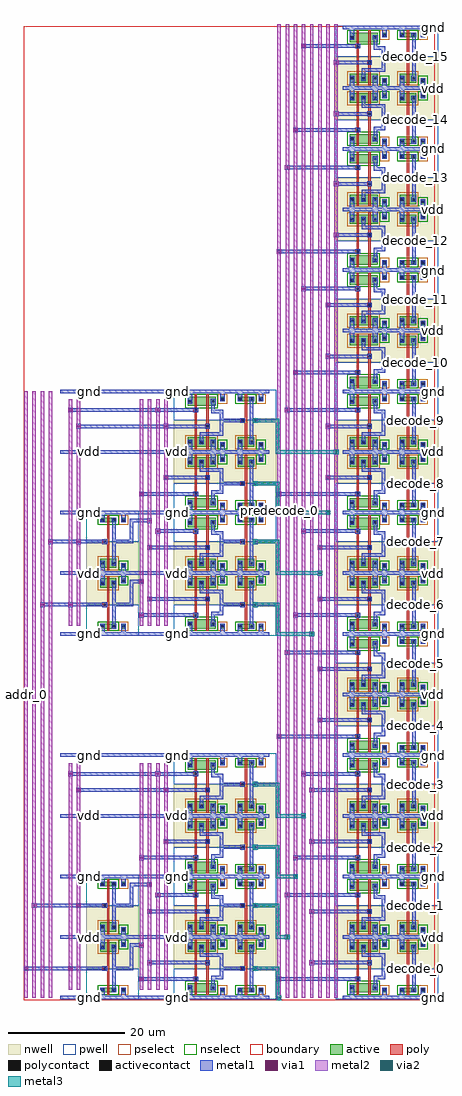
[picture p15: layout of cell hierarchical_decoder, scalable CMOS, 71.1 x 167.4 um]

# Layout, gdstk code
import gdstk
lib = gdstk.Library(unit=1e-6, precision=1e-09)
def R(c, l, rs):  # rectangles x0, y0, x1, y1
    for r in rs: c.add(gdstk.rectangle(r[:2], r[2:], *l))
def A(c, l, x, y, w, h, nx, ny, dx, dy):  # array of equal rectangles
    R(c, l, [(x+i*dx, y+j*dy, x+i*dx+w, y+j*dy+h) for i in range(nx) for j in range(ny)])
pwell = (41, 0)
nwell = (42, 0)
active = (43, 0)
pselect = (44, 0)
nselect = (45, 0)
poly = (46, 0)
polycontact = (47, 0)
activecontact = (48, 0)
metal1 = (49, 0)
via1 = (50, 0)
metal2 = (51, 0)
via2 = (61, 0)
metal3 = (62, 0)
boundary = (63, 0)

contact_9 = lib.new_cell('contact_9')
R(contact_9, nwell, [(-1.2,-1.2,2,2)])
R(contact_9, active, [(0,0,0.8,0.8)])
R(contact_9, pselect, [(-0.4,-0.4,1.2,1.2)])
R(contact_9, activecontact, [(0.2,0.2,0.6,0.6)])
R(contact_9, metal1, [(0,0,0.8,0.8)])
R(contact_9, boundary, [(-1.2,-1.2,2,2)])

pmos_m1_w1_600_sm1_dm1_d = lib.new_cell('pmos_m1_w1_600_sm1_dm1_da_p')
R(pmos_m1_w1_600_sm1_dm1_d, nwell, [(-1.2,-1.2,4,2.8)])
R(pmos_m1_w1_600_sm1_dm1_d, active, [(0,0,2.8,1.6)])
R(pmos_m1_w1_600_sm1_dm1_d, pselect, [(-0.4,-0.4,3.2,2)])
R(pmos_m1_w1_600_sm1_dm1_d, poly, [(1.2,-0.4,1.6,2), (1.2,-0.4,1.6,2)])
R(pmos_m1_w1_600_sm1_dm1_d, metal1, [(0,0.4,0.8,1.2), (2,0.4,2.8,1.2)])
R(pmos_m1_w1_600_sm1_dm1_d, boundary, [(-1.2,-1.2,4,2.8)])
pmos_m1_w1_600_sm1_dm1_d.add(gdstk.Reference(contact_9, (0,0.4)))
pmos_m1_w1_600_sm1_dm1_d.add(gdstk.Reference(contact_9, (2,0.4)))
pmos_m1_w1_600_sm1_dm1_d.add(gdstk.Label('G', (1.4,0.8), layer=46, texttype=0))
pmos_m1_w1_600_sm1_dm1_d.add(gdstk.Label('S', (0.4,0.8), layer=49, texttype=0))
pmos_m1_w1_600_sm1_dm1_d.add(gdstk.Label('D', (2.4,0.8), layer=49, texttype=0))

contact_14 = lib.new_cell('contact_14')
R(contact_14, pwell, [(-1.2,-1.2,2,2)])
R(contact_14, active, [(0,0,0.8,0.8)])
R(contact_14, nselect, [(-0.4,-0.4,1.2,1.2)])
R(contact_14, activecontact, [(0.2,0.2,0.6,0.6)])
R(contact_14, metal1, [(0,0,0.8,0.8)])
R(contact_14, boundary, [(-1.2,-1.2,2,2)])

nmos_m1_w0_800_sm1_dm1_d = lib.new_cell('nmos_m1_w0_800_sm1_dm1_da_p')
R(nmos_m1_w0_800_sm1_dm1_d, pwell, [(-1.2,-1.2,4,2)])
R(nmos_m1_w0_800_sm1_dm1_d, active, [(0,0,2.8,0.8)])
R(nmos_m1_w0_800_sm1_dm1_d, nselect, [(-0.4,-0.4,3.2,1.2)])
R(nmos_m1_w0_800_sm1_dm1_d, poly, [(1.2,-0.4,1.6,1.2), (1.2,-0.4,1.6,1.2)])
R(nmos_m1_w0_800_sm1_dm1_d, metal1, [(0,0,0.8,0.8), (2,0,2.8,0.8)])
R(nmos_m1_w0_800_sm1_dm1_d, boundary, [(-1.2,-1.2,4,2)])
nmos_m1_w0_800_sm1_dm1_d.add(gdstk.Reference(contact_14, (0,0)))
nmos_m1_w0_800_sm1_dm1_d.add(gdstk.Reference(contact_14, (2,0)))
nmos_m1_w0_800_sm1_dm1_d.add(gdstk.Label('G', (1.4,0.4), layer=46, texttype=0))
nmos_m1_w0_800_sm1_dm1_d.add(gdstk.Label('S', (0.4,0.4), layer=49, texttype=0))
nmos_m1_w0_800_sm1_dm1_d.add(gdstk.Label('D', (2.4,0.4), layer=49, texttype=0))

contact_15 = lib.new_cell('contact_15')
R(contact_15, nwell, [(-1.2,-1.2,2,2)])
R(contact_15, active, [(0,0,0.8,0.8)])
R(contact_15, nselect, [(-0.4,-0.4,1.2,1.2)])
R(contact_15, activecontact, [(0.2,0.2,0.6,0.6)])
R(contact_15, metal1, [(0,0,0.8,0.8)])
R(contact_15, boundary, [(-1.2,-1.2,2,2)])

contact_16 = lib.new_cell('contact_16')
R(contact_16, pwell, [(-1.2,-1.2,2,2)])
R(contact_16, active, [(0,0,0.8,0.8)])
R(contact_16, pselect, [(-0.4,-0.4,1.2,1.2)])
R(contact_16, activecontact, [(0.2,0.2,0.6,0.6)])
R(contact_16, metal1, [(0,0,0.8,0.8)])
R(contact_16, boundary, [(-1.2,-1.2,2,2)])

contact_10 = lib.new_cell('contact_10')
R(contact_10, poly, [(0,0,0.8,0.8)])
R(contact_10, polycontact, [(0.2,0.2,0.6,0.6)])
R(contact_10, metal1, [(0,0,0.8,0.8)])
R(contact_10, boundary, [(0,0,0.8,0.8)])

pinv = lib.new_cell('pinv')
R(pinv, pwell, [(-1.2,-0.3,7.8,5)])
R(pinv, nwell, [(-1.2,5,7.8,11.9)])
R(pinv, poly, [(2.4,2.1,2.8,7.5), (2,4.6,2.4,5.4)])
R(pinv, metal1, [(0,-0.3,6.6,0.3), (1.2,-0.3,2,0.9), (4.8,0,5.6,1.3), (3.3,0.9,3.9,9.1), (1.6,4.6,2.4,5.4), (3.6,4.7,4.2,5.3), (1.2,8.3,2,10.7), (4.8,9.1,5.6,10.4), (0,10.1,6.6,10.7)])
R(pinv, boundary, [(0,0,6.6,10.4), (0,0,6.6,10.4)])
pinv.add(gdstk.Reference(pmos_m1_w1_600_sm1_dm1_d, (1.2,7.9)))
pinv.add(gdstk.Reference(nmos_m1_w0_800_sm1_dm1_d, (1.2,0.9)))
pinv.add(gdstk.Reference(contact_15, (4.8,8.7)))
pinv.add(gdstk.Reference(contact_16, (4.8,0.9)))
pinv.add(gdstk.Reference(contact_10, (1.6,4.6)))
pinv.add(gdstk.Label('A', (2,5), layer=49, texttype=0))
pinv.add(gdstk.Label('Z', (3.9,5), layer=49, texttype=0))
pinv.add(gdstk.Label('gnd', (3.3,0), layer=49, texttype=0))
pinv.add(gdstk.Label('vdd', (3.3,10.4), layer=49, texttype=0))

pmos_m1_w1_600_sm1_dm1 = lib.new_cell('pmos_m1_w1_600_sm1_dm1')
R(pmos_m1_w1_600_sm1_dm1, nwell, [(-1.2,-1.2,4,2.8)])
R(pmos_m1_w1_600_sm1_dm1, active, [(0,0,2.8,1.6)])
R(pmos_m1_w1_600_sm1_dm1, pselect, [(-0.4,-0.4,3.2,2)])
R(pmos_m1_w1_600_sm1_dm1, poly, [(1.2,-0.4,1.6,2), (1.2,-0.4,1.6,2)])
R(pmos_m1_w1_600_sm1_dm1, metal1, [(0,0.4,0.8,1.2), (2,0.4,2.8,1.2)])
R(pmos_m1_w1_600_sm1_dm1, boundary, [(-1.2,-1.2,4,2.8)])
pmos_m1_w1_600_sm1_dm1.add(gdstk.Reference(contact_9, (0,0.4)))
pmos_m1_w1_600_sm1_dm1.add(gdstk.Reference(contact_9, (2,0.4)))
pmos_m1_w1_600_sm1_dm1.add(gdstk.Label('G', (1.4,0.8), layer=46, texttype=0))
pmos_m1_w1_600_sm1_dm1.add(gdstk.Label('S', (0.4,0.8), layer=49, texttype=0))
pmos_m1_w1_600_sm1_dm1.add(gdstk.Label('D', (2.4,0.8), layer=49, texttype=0))

nmos_m1_w1_600_sm1_dacti = lib.new_cell('nmos_m1_w1_600_sm1_dactive')
R(nmos_m1_w1_600_sm1_dacti, pwell, [(-1.2,-1.2,4,2.8)])
R(nmos_m1_w1_600_sm1_dacti, active, [(0,0,2.8,1.6), (2.1,0.5,2.7,1.1)])
R(nmos_m1_w1_600_sm1_dacti, nselect, [(-0.4,-0.4,3.2,2)])
R(nmos_m1_w1_600_sm1_dacti, poly, [(1.2,-0.4,1.6,2), (1.2,-0.4,1.6,2)])
R(nmos_m1_w1_600_sm1_dacti, metal1, [(0,0.4,0.8,1.2)])
R(nmos_m1_w1_600_sm1_dacti, boundary, [(-1.2,-1.2,4,2.8)])
nmos_m1_w1_600_sm1_dacti.add(gdstk.Reference(contact_14, (0,0.4)))
nmos_m1_w1_600_sm1_dacti.add(gdstk.Label('G', (1.4,0.8), layer=46, texttype=0))
nmos_m1_w1_600_sm1_dacti.add(gdstk.Label('S', (0.4,0.8), layer=49, texttype=0))
nmos_m1_w1_600_sm1_dacti.add(gdstk.Label('D', (2.4,0.8), layer=43, texttype=0))

nmos_m1_w1_600_sactive_d = lib.new_cell('nmos_m1_w1_600_sactive_dm1')
R(nmos_m1_w1_600_sactive_d, pwell, [(-1.2,-1.2,4,2.8)])
R(nmos_m1_w1_600_sactive_d, active, [(0,0,2.8,1.6), (0.1,0.5,0.7,1.1)])
R(nmos_m1_w1_600_sactive_d, nselect, [(-0.4,-0.4,3.2,2)])
R(nmos_m1_w1_600_sactive_d, poly, [(1.2,-0.4,1.6,2), (1.2,-0.4,1.6,2)])
R(nmos_m1_w1_600_sactive_d, metal1, [(2,0.4,2.8,1.2)])
R(nmos_m1_w1_600_sactive_d, boundary, [(-1.2,-1.2,4,2.8)])
nmos_m1_w1_600_sactive_d.add(gdstk.Reference(contact_14, (2,0.4)))
nmos_m1_w1_600_sactive_d.add(gdstk.Label('G', (1.4,0.8), layer=46, texttype=0))
nmos_m1_w1_600_sactive_d.add(gdstk.Label('S', (0.4,0.8), layer=43, texttype=0))
nmos_m1_w1_600_sactive_d.add(gdstk.Label('D', (2.4,0.8), layer=49, texttype=0))

pnand2 = lib.new_cell('pnand2')
R(pnand2, pwell, [(-1.2,-0.3,9.8,5)])
R(pnand2, nwell, [(-1.2,5,9.8,11.9)])
R(pnand2, poly, [(2.4,2.8,2.6,3.6), (2.4,2.9,2.8,7.5), (4.4,2.9,4.8,7.5), (4.4,5.6,4.6,6.4)])
R(pnand2, metal1, [(0,-0.3,8.6,0.3), (1.2,-0.3,2,1.3), (6.8,0,7.6,1.3), (5.3,2.1,5.9,3.5), (2.2,2.8,3,3.6), (5.3,3.2,5.9,3.8), (5.6,3.2,7,3.8), (6.7,3.2,7.3,3.8), (6.7,3.5,7.3,7.3), (4.2,5.6,5,6.4), (3.3,7,3.9,7.6), (3.6,7,7,7.6), (6.7,7,7.3,7.6), (3.3,7.3,3.9,8.3), (1.2,8.3,2,10.7), (5.2,8.3,6,10.7), (6.8,9.1,7.6,10.4), (0,10.1,8.6,10.7)])
R(pnand2, boundary, [(0,0,8.6,10.4), (0,0,8.6,10.4)])
pnand2.add(gdstk.Reference(pmos_m1_w1_600_sm1_dm1, (1.2,7.9)))
pnand2.add(gdstk.Reference(pmos_m1_w1_600_sm1_dm1, (3.2,7.9)))
pnand2.add(gdstk.Reference(nmos_m1_w1_600_sm1_dacti, (1.2,0.9)))
pnand2.add(gdstk.Reference(nmos_m1_w1_600_sactive_d, (3.2,0.9)))
pnand2.add(gdstk.Reference(contact_15, (6.8,8.7)))
pnand2.add(gdstk.Reference(contact_16, (6.8,0.9)))
pnand2.add(gdstk.Reference(contact_10, (2.2,2.8)))
pnand2.add(gdstk.Reference(contact_10, (4.2,5.6)))
pnand2.add(gdstk.Label('Z', (7,7.3), layer=49, texttype=0))
pnand2.add(gdstk.Label('gnd', (4.3,0), layer=49, texttype=0))
pnand2.add(gdstk.Label('vdd', (4.3,10.4), layer=49, texttype=0))
pnand2.add(gdstk.Label('A', (2.6,3.2), layer=49, texttype=0))
pnand2.add(gdstk.Label('B', (4.6,6), layer=49, texttype=0))

and2_dec = lib.new_cell('and2_dec')
R(and2_dec, metal1, [(0,-0.3,15.2,0.3), (2.2,2.8,3,3.6), (6.7,4.7,7.3,5.3), (7,4.7,10.6,5.3), (12.2,4.7,12.8,5.3), (6.7,5,7.3,7.3), (4.2,5.6,5,6.4), (0,10.1,15.2,10.7)])
R(and2_dec, boundary, [(0,0,15.2,10.4)])
and2_dec.add(gdstk.Reference(pnand2, (0,0)))
and2_dec.add(gdstk.Reference(pinv, (8.6,0)))
and2_dec.add(gdstk.Label('Z', (12.5,5), layer=49, texttype=0))
and2_dec.add(gdstk.Label('A', (2.6,3.2), layer=49, texttype=0))
and2_dec.add(gdstk.Label('B', (4.6,6), layer=49, texttype=0))
and2_dec.add(gdstk.Label('gnd', (7.6,0), layer=49, texttype=0))
and2_dec.add(gdstk.Label('vdd', (7.6,10.4), layer=49, texttype=0))

contact_17 = lib.new_cell('contact_17')
R(contact_17, metal1, [(0,0,0.8,0.8)])
R(contact_17, via1, [(0.2,0.2,0.6,0.6)])
R(contact_17, metal2, [(0,0,0.8,0.8)])
R(contact_17, boundary, [(0,0,0.8,0.8)])

contact_6 = lib.new_cell('contact_6')
R(contact_6, metal1, [(0,0,0.8,0.8)])
R(contact_6, via1, [(0.2,0.2,0.6,0.6)])
R(contact_6, metal2, [(0,0,0.8,0.8)])
R(contact_6, boundary, [(0,0,0.8,0.8)])

contact_7 = lib.new_cell('contact_7')
R(contact_7, metal2, [(0,0,0.8,0.8)])
R(contact_7, via2, [(0.2,0.2,0.6,0.6)])
R(contact_7, metal3, [(0,0,0.8,0.8)])
R(contact_7, boundary, [(0,0,0.8,0.8)])

hierarchical_predecode2x = lib.new_cell('hierarchical_predecode2x4')
R(hierarchical_predecode2x, metal1, [(0,-0.3,35.8,0.3), (13.9,2.9,23.2,3.5), (22.9,2.9,23.5,3.5), (1.7,4.7,7.6,5.3), (7.3,4.7,7.9,5.3), (9.5,4.7,10.1,5.3), (9.8,4.7,12.2,5.3), (11.9,4.7,12.5,5.3), (32.8,4.7,33.4,5.3), (11.9,5,12.5,9), (15.3,5.7,25.2,6.3), (24.9,5.7,25.5,6.3), (11.9,8.7,12.5,9.3), (12.2,8.7,13.9,9.3), (0,10.1,35.8,10.7), (0,10.1,35.8,10.7), (15.3,14.5,25.2,15.1), (24.9,14.5,25.5,15.1), (3.1,15.5,7.6,16.1), (7.3,15.5,7.9,16.1), (9.5,15.5,10.1,16.1), (9.8,15.5,12.2,16.1), (11.9,15.5,12.5,16.1), (32.8,15.5,33.4,16.1), (11.9,15.8,12.5,19.4), (16.7,17.3,23.2,17.9), (22.9,17.3,23.5,17.9), (11.9,19.1,12.5,19.7), (12.2,19.1,15.3,19.7), (0,20.5,35.8,21.1), (0,20.5,35.8,21.1), (13.9,23.7,23.2,24.3), (22.9,23.7,23.5,24.3), (32.8,25.5,33.4,26.1), (18.1,26.5,25.2,27.1), (24.9,26.5,25.5,27.1), (0,30.9,35.8,31.5), (0,30.9,35.8,31.5), (3.1,35.3,18.1,35.9), (18.1,35.3,25.2,35.9), (24.9,35.3,25.5,35.9), (32.8,36.3,33.4,36.9), (1.7,38.1,16.7,38.7), (16.7,38.1,23.2,38.7), (22.9,38.1,23.5,38.7), (0,41.3,35.8,41.9)])
A(hierarchical_predecode2x, metal2, 13.6, 1.4, 0.6, 38.8, 4, 1, 1.4, 0)
R(hierarchical_predecode2x, metal2, [(1.4,1.4,2,40.2), (2.8,1.4,3.4,40.2), (1.3,4.6,2.1,5.4), (2.7,15.4,3.5,16.2)])
A(hierarchical_predecode2x, metal3, 4.6, 10, 0.8, 0.8, 1, 3, 0, 10.4)
A(hierarchical_predecode2x, metal3, 19.6, 10, 0.8, 0.8, 1, 3, 0, 10.4)
R(hierarchical_predecode2x, metal3, [(4.6,-0.4,5.4,0.4), (19.6,-0.4,20.4,0.4), (4.6,10,5.4,10.8), (19.6,10,20.4,10.8), (4.6,30.8,5.4,31.6), (19.6,30.8,20.4,31.6), (4.6,41.2,5.4,42), (19.6,41.2,20.4,42)])
R(hierarchical_predecode2x, boundary, [(0,0,35.8,41.6)])
hierarchical_predecode2x.add(gdstk.Reference(pinv, (5.6,0)))
hierarchical_predecode2x.add(gdstk.Reference(pinv, (5.6,20.8), x_reflection=True))
hierarchical_predecode2x.add(gdstk.Reference(and2_dec, (20.6,0)))
hierarchical_predecode2x.add(gdstk.Reference(and2_dec, (20.6,20.8), x_reflection=True))
hierarchical_predecode2x.add(gdstk.Reference(and2_dec, (20.6,20.8)))
hierarchical_predecode2x.add(gdstk.Reference(and2_dec, (20.6,41.6), x_reflection=True))
hierarchical_predecode2x.add(gdstk.Reference(contact_17, (13.5,8.6)))
hierarchical_predecode2x.add(gdstk.Reference(contact_6, (1.3,4.6)))
hierarchical_predecode2x.add(gdstk.Reference(contact_17, (14.9,19)))
hierarchical_predecode2x.add(gdstk.Reference(contact_6, (2.7,15.4)))
hierarchical_predecode2x.add(gdstk.Reference(contact_6, (1.3,38)))
hierarchical_predecode2x.add(gdstk.Reference(contact_6, (16.3,38)))
hierarchical_predecode2x.add(gdstk.Reference(contact_6, (2.7,35.2)))
hierarchical_predecode2x.add(gdstk.Reference(contact_6, (17.7,35.2)))
hierarchical_predecode2x.add(gdstk.Reference(contact_17, (13.5,2.8)))
hierarchical_predecode2x.add(gdstk.Reference(contact_17, (14.9,5.6)))
hierarchical_predecode2x.add(gdstk.Reference(contact_17, (16.3,17.2)))
hierarchical_predecode2x.add(gdstk.Reference(contact_17, (14.9,14.4)))
hierarchical_predecode2x.add(gdstk.Reference(contact_17, (13.5,23.6)))
hierarchical_predecode2x.add(gdstk.Reference(contact_17, (17.7,26.4)))
hierarchical_predecode2x.add(gdstk.Reference(contact_17, (16.3,38)))
hierarchical_predecode2x.add(gdstk.Reference(contact_17, (17.7,35.2)))
hierarchical_predecode2x.add(gdstk.Reference(contact_6, (4.6,10)))
hierarchical_predecode2x.add(gdstk.Reference(contact_7, (4.6,10)))
hierarchical_predecode2x.add(gdstk.Reference(contact_6, (19.6,10)))
hierarchical_predecode2x.add(gdstk.Reference(contact_7, (19.6,10)))
hierarchical_predecode2x.add(gdstk.Reference(contact_6, (4.6,-0.4)))
hierarchical_predecode2x.add(gdstk.Reference(contact_7, (4.6,-0.4)))
hierarchical_predecode2x.add(gdstk.Reference(contact_6, (19.6,-0.4)))
hierarchical_predecode2x.add(gdstk.Reference(contact_7, (19.6,-0.4)))
hierarchical_predecode2x.add(gdstk.Reference(contact_6, (4.6,10)))
hierarchical_predecode2x.add(gdstk.Reference(contact_7, (4.6,10)))
hierarchical_predecode2x.add(gdstk.Reference(contact_6, (19.6,10)))
hierarchical_predecode2x.add(gdstk.Reference(contact_7, (19.6,10)))
hierarchical_predecode2x.add(gdstk.Reference(contact_6, (4.6,20.4)))
hierarchical_predecode2x.add(gdstk.Reference(contact_7, (4.6,20.4)))
hierarchical_predecode2x.add(gdstk.Reference(contact_6, (19.6,20.4)))
hierarchical_predecode2x.add(gdstk.Reference(contact_7, (19.6,20.4)))
hierarchical_predecode2x.add(gdstk.Reference(contact_6, (4.6,30.8)))
hierarchical_predecode2x.add(gdstk.Reference(contact_7, (4.6,30.8)))
hierarchical_predecode2x.add(gdstk.Reference(contact_6, (19.6,30.8)))
hierarchical_predecode2x.add(gdstk.Reference(contact_7, (19.6,30.8)))
hierarchical_predecode2x.add(gdstk.Reference(contact_6, (4.6,20.4)))
hierarchical_predecode2x.add(gdstk.Reference(contact_7, (4.6,20.4)))
hierarchical_predecode2x.add(gdstk.Reference(contact_6, (19.6,20.4)))
hierarchical_predecode2x.add(gdstk.Reference(contact_7, (19.6,20.4)))
hierarchical_predecode2x.add(gdstk.Reference(contact_6, (4.6,30.8)))
hierarchical_predecode2x.add(gdstk.Reference(contact_7, (4.6,30.8)))
hierarchical_predecode2x.add(gdstk.Reference(contact_6, (19.6,30.8)))
hierarchical_predecode2x.add(gdstk.Reference(contact_7, (19.6,30.8)))
hierarchical_predecode2x.add(gdstk.Reference(contact_6, (4.6,41.2)))
hierarchical_predecode2x.add(gdstk.Reference(contact_7, (4.6,41.2)))
hierarchical_predecode2x.add(gdstk.Reference(contact_6, (19.6,41.2)))
hierarchical_predecode2x.add(gdstk.Reference(contact_7, (19.6,41.2)))
hierarchical_predecode2x.add(gdstk.Label('in_0', (1.7,5), layer=51, texttype=0))
hierarchical_predecode2x.add(gdstk.Label('in_1', (3.1,15.8), layer=51, texttype=0))
hierarchical_predecode2x.add(gdstk.Label('out_0', (33.1,5), layer=49, texttype=0))
hierarchical_predecode2x.add(gdstk.Label('out_1', (33.1,15.8), layer=49, texttype=0))
hierarchical_predecode2x.add(gdstk.Label('out_2', (33.1,25.8), layer=49, texttype=0))
hierarchical_predecode2x.add(gdstk.Label('out_3', (33.1,36.6), layer=49, texttype=0))
hierarchical_predecode2x.add(gdstk.Label('vdd', (5,31.2), layer=62, texttype=0))
hierarchical_predecode2x.add(gdstk.Label('vdd', (20,31.2), layer=62, texttype=0))
hierarchical_predecode2x.add(gdstk.Label('vdd', (20,31.2), layer=62, texttype=0))
hierarchical_predecode2x.add(gdstk.Label('vdd', (5,10.4), layer=62, texttype=0))
hierarchical_predecode2x.add(gdstk.Label('vdd', (20,10.4), layer=62, texttype=0))
hierarchical_predecode2x.add(gdstk.Label('vdd', (20,10.4), layer=62, texttype=0))
hierarchical_predecode2x.add(gdstk.Label('vdd', (5,10.4), layer=62, texttype=0))
hierarchical_predecode2x.add(gdstk.Label('vdd', (5,31.2), layer=62, texttype=0))
hierarchical_predecode2x.add(gdstk.Label('gnd', (20,0), layer=62, texttype=0))
hierarchical_predecode2x.add(gdstk.Label('gnd', (5,41.6), layer=62, texttype=0))
hierarchical_predecode2x.add(gdstk.Label('gnd', (20,20.8), layer=62, texttype=0))
hierarchical_predecode2x.add(gdstk.Label('gnd', (5,0), layer=62, texttype=0))
hierarchical_predecode2x.add(gdstk.Label('gnd', (5,20.8), layer=62, texttype=0))
hierarchical_predecode2x.add(gdstk.Label('gnd', (20,41.6), layer=62, texttype=0))

contact_18 = lib.new_cell('contact_18')
R(contact_18, metal2, [(0,0,0.8,0.8)])
R(contact_18, via2, [(0.2,0.2,0.6,0.6)])
R(contact_18, metal3, [(0,0,0.8,0.8)])
R(contact_18, boundary, [(0,0,0.8,0.8)])

hierarchical_decoder = lib.new_cell('hierarchical_decoder')
A(hierarchical_decoder, metal1, 43.8, 3.3, 13.5, 0.6, 1, 4, 0, 41.6)
A(hierarchical_decoder, metal1, 45.2, 17.7, 12.1, 0.6, 1, 4, 0, 41.6)
A(hierarchical_decoder, metal1, 46.6, 24.1, 10.7, 0.6, 1, 4, 0, 41.6)
A(hierarchical_decoder, metal1, 48, 38.5, 9.3, 0.6, 1, 4, 0, 41.6)
R(hierarchical_decoder, metal1, [(57,3.3,57.6,3.9), (0.4,5.1,8,5.7), (66.9,5.1,67.5,5.7), (49.4,6.1,59.3,6.7), (59,6.1,59.6,6.7), (49.4,14.9,59.3,15.5), (59,14.9,59.6,15.5), (1.8,15.9,9.4,16.5), (66.9,15.9,67.5,16.5), (57,17.7,57.6,18.3), (57,24.1,57.6,24.7), (66.9,25.9,67.5,26.5), (49.4,26.9,59.3,27.5), (59,26.9,59.6,27.5), (49.4,35.7,59.3,36.3), (59,35.7,59.6,36.3), (66.9,36.7,67.5,37.3), (57,38.5,57.6,39.1), (57,44.9,57.6,45.5), (66.9,46.7,67.5,47.3), (50.8,47.7,59.3,48.3), (59,47.7,59.6,48.3), (50.8,56.5,59.3,57.1), (59,56.5,59.6,57.1), (66.9,57.5,67.5,58.1), (57,59.3,57.6,59.9), (57,65.7,57.6,66.3), (3.2,67.5,8,68.1), (66.9,67.5,67.5,68.1), (50.8,68.5,59.3,69.1), (59,68.5,59.6,69.1), (50.8,77.3,59.3,77.9), (59,77.3,59.6,77.9), (4.6,78.3,9.4,78.9), (66.9,78.3,67.5,78.9), (57,80.1,57.6,80.7), (57,86.5,57.6,87.1), (66.9,88.3,67.5,88.9), (52.2,89.3,59.3,89.9), (59,89.3,59.6,89.9), (52.2,98.1,59.3,98.7), (59,98.1,59.6,98.7), (66.9,99.1,67.5,99.7), (57,100.9,57.6,101.5), (57,107.3,57.6,107.9), (66.9,109.1,67.5,109.7), (52.2,110.1,59.3,110.7), (59,110.1,59.6,110.7), (52.2,118.9,59.3,119.5), (59,118.9,59.6,119.5), (66.9,119.9,67.5,120.5), (57,121.7,57.6,122.3), (57,128.1,57.6,128.7), (66.9,129.9,67.5,130.5), (53.6,130.9,59.3,131.5), (59,130.9,59.6,131.5), (53.6,139.7,59.3,140.3), (59,139.7,59.6,140.3), (66.9,140.7,67.5,141.3), (57,142.5,57.6,143.1), (57,148.9,57.6,149.5), (66.9,150.7,67.5,151.3), (53.6,151.7,59.3,152.3), (59,151.7,59.6,152.3), (53.6,160.5,59.3,161.1), (59,160.5,59.6,161.1), (66.9,161.5,67.5,162.1), (57,163.3,57.6,163.9)])
A(hierarchical_decoder, metal2, 0.1, 0.4, 0.6, 104, 4, 1, 1.4, 0)
A(hierarchical_decoder, metal2, 43.5, 0.4, 0.6, 167, 8, 1, 1.4, 0)
A(hierarchical_decoder, metal3, 10.9, 0, 0.8, 0.8, 1, 5, 0, 10.4)
A(hierarchical_decoder, metal3, 25.9, 0, 0.8, 0.8, 1, 5, 0, 10.4)
A(hierarchical_decoder, metal3, 43.2, 5.1, 0.6, 0.6, 1, 3, 0, 5.4)
A(hierarchical_decoder, metal3, 69.8, 10.4, 0.8, 0.8, 1, 3, 0, 10.4)
A(hierarchical_decoder, metal3, 43.2, 25.9, 0.6, 0.6, 1, 3, 0, 5.4)
A(hierarchical_decoder, metal3, 69.8, 31.2, 0.8, 0.8, 1, 5, 0, 10.4)
A(hierarchical_decoder, metal3, 10.9, 62.4, 0.8, 0.8, 1, 5, 0, 10.4)
A(hierarchical_decoder, metal3, 25.9, 62.4, 0.8, 0.8, 1, 5, 0, 10.4)
A(hierarchical_decoder, metal3, 43.2, 67.5, 0.6, 0.6, 1, 3, 0, 5.4)
A(hierarchical_decoder, metal3, 69.8, 72.8, 0.8, 0.8, 1, 3, 0, 10.4)
A(hierarchical_decoder, metal3, 43.2, 88.3, 0.6, 0.6, 1, 3, 0, 5.4)
A(hierarchical_decoder, metal3, 69.8, 93.6, 0.8, 0.8, 1, 8, 0, 10.4)
R(hierarchical_decoder, metal3, [(69.8,0,70.6,0.8), (43.2,0.1,43.8,0.7), (43.5,0.1,43.8,0.7), (43.2,0.4,43.8,5.4), (39.7,5.1,43.5,5.7), (69.8,10.4,70.6,11.2), (43.5,10.5,45.2,11.1), (43.2,10.8,43.8,16.2), (39.7,15.9,43.5,16.5), (43.2,20.9,43.8,21.5), (43.5,20.9,46.6,21.5), (43.2,21.2,43.8,26.2), (39.7,25.9,43.5,26.5), (43.5,31.3,48,31.9), (43.2,31.6,43.8,37), (39.7,36.7,43.5,37.3), (43.2,62.5,43.8,63.1), (43.5,62.5,49.4,63.1), (43.2,62.8,43.8,67.8), (39.7,67.5,43.5,68.1), (43.5,72.9,50.8,73.5), (43.2,73.2,43.8,78.6), (39.7,78.3,43.5,78.9), (43.2,83.3,43.8,83.9), (43.5,83.3,52.2,83.9), (43.2,83.6,43.8,88.6), (39.7,88.3,43.5,88.9), (43.5,93.7,53.6,94.3), (43.2,94,43.8,99.4), (39.7,99.1,43.5,99.7)])
R(hierarchical_decoder, boundary, [(0,0,70.5,167)])
hierarchical_decoder.add(gdstk.Reference(hierarchical_predecode2x, (6.3,0.4)))
hierarchical_decoder.add(gdstk.Reference(hierarchical_predecode2x, (6.3,62.8)))
hierarchical_decoder.add(gdstk.Reference(and2_dec, (54.7,0.4)))
hierarchical_decoder.add(gdstk.Reference(and2_dec, (54.7,21.2), x_reflection=True))
hierarchical_decoder.add(gdstk.Reference(and2_dec, (54.7,21.2)))
hierarchical_decoder.add(gdstk.Reference(and2_dec, (54.7,42), x_reflection=True))
hierarchical_decoder.add(gdstk.Reference(and2_dec, (54.7,42)))
hierarchical_decoder.add(gdstk.Reference(and2_dec, (54.7,62.8), x_reflection=True))
hierarchical_decoder.add(gdstk.Reference(and2_dec, (54.7,62.8)))
hierarchical_decoder.add(gdstk.Reference(and2_dec, (54.7,83.6), x_reflection=True))
hierarchical_decoder.add(gdstk.Reference(and2_dec, (54.7,83.6)))
hierarchical_decoder.add(gdstk.Reference(and2_dec, (54.7,104.4), x_reflection=True))
hierarchical_decoder.add(gdstk.Reference(and2_dec, (54.7,104.4)))
hierarchical_decoder.add(gdstk.Reference(and2_dec, (54.7,125.2), x_reflection=True))
hierarchical_decoder.add(gdstk.Reference(and2_dec, (54.7,125.2)))
hierarchical_decoder.add(gdstk.Reference(and2_dec, (54.7,146), x_reflection=True))
hierarchical_decoder.add(gdstk.Reference(and2_dec, (54.7,146)))
hierarchical_decoder.add(gdstk.Reference(and2_dec, (54.7,166.8), x_reflection=True))
hierarchical_decoder.add(gdstk.Reference(contact_6, (7.6,5)))
hierarchical_decoder.add(gdstk.Reference(contact_17, (0,5)))
hierarchical_decoder.add(gdstk.Reference(contact_6, (9,15.8)))
hierarchical_decoder.add(gdstk.Reference(contact_17, (1.4,15.8)))
hierarchical_decoder.add(gdstk.Reference(contact_6, (7.6,67.4)))
hierarchical_decoder.add(gdstk.Reference(contact_17, (2.8,67.4)))
hierarchical_decoder.add(gdstk.Reference(contact_6, (9,78.2)))
hierarchical_decoder.add(gdstk.Reference(contact_17, (4.2,78.2)))
hierarchical_decoder.add(gdstk.Reference(contact_6, (39.3,5)))
hierarchical_decoder.add(gdstk.Reference(contact_7, (39.3,5)))
hierarchical_decoder.add(gdstk.Reference(contact_18, (43.4,0)))
hierarchical_decoder.add(gdstk.Reference(contact_6, (39.3,15.8)))
hierarchical_decoder.add(gdstk.Reference(contact_7, (39.3,15.8)))
hierarchical_decoder.add(gdstk.Reference(contact_18, (44.8,10.4)))
hierarchical_decoder.add(gdstk.Reference(contact_6, (39.3,25.8)))
hierarchical_decoder.add(gdstk.Reference(contact_7, (39.3,25.8)))
hierarchical_decoder.add(gdstk.Reference(contact_18, (46.2,20.8)))
hierarchical_decoder.add(gdstk.Reference(contact_6, (39.3,36.6)))
hierarchical_decoder.add(gdstk.Reference(contact_7, (39.3,36.6)))
hierarchical_decoder.add(gdstk.Reference(contact_18, (47.6,31.2)))
hierarchical_decoder.add(gdstk.Reference(contact_6, (39.3,67.4)))
hierarchical_decoder.add(gdstk.Reference(contact_7, (39.3,67.4)))
hierarchical_decoder.add(gdstk.Reference(contact_18, (49,62.4)))
hierarchical_decoder.add(gdstk.Reference(contact_6, (39.3,78.2)))
hierarchical_decoder.add(gdstk.Reference(contact_7, (39.3,78.2)))
hierarchical_decoder.add(gdstk.Reference(contact_18, (50.4,72.8)))
hierarchical_decoder.add(gdstk.Reference(contact_6, (39.3,88.2)))
hierarchical_decoder.add(gdstk.Reference(contact_7, (39.3,88.2)))
hierarchical_decoder.add(gdstk.Reference(contact_18, (51.8,83.2)))
hierarchical_decoder.add(gdstk.Reference(contact_6, (39.3,99)))
hierarchical_decoder.add(gdstk.Reference(contact_7, (39.3,99)))
hierarchical_decoder.add(gdstk.Reference(contact_18, (53.2,93.6)))
hierarchical_decoder.add(gdstk.Reference(contact_17, (43.4,3.2)))
hierarchical_decoder.add(gdstk.Reference(contact_17, (49,6)))
hierarchical_decoder.add(gdstk.Reference(contact_17, (44.8,17.6)))
hierarchical_decoder.add(gdstk.Reference(contact_17, (49,14.8)))
hierarchical_decoder.add(gdstk.Reference(contact_17, (46.2,24)))
hierarchical_decoder.add(gdstk.Reference(contact_17, (49,26.8)))
hierarchical_decoder.add(gdstk.Reference(contact_17, (47.6,38.4)))
hierarchical_decoder.add(gdstk.Reference(contact_17, (49,35.6)))
hierarchical_decoder.add(gdstk.Reference(contact_17, (43.4,44.8)))
hierarchical_decoder.add(gdstk.Reference(contact_17, (50.4,47.6)))
hierarchical_decoder.add(gdstk.Reference(contact_17, (44.8,59.2)))
hierarchical_decoder.add(gdstk.Reference(contact_17, (50.4,56.4)))
hierarchical_decoder.add(gdstk.Reference(contact_17, (46.2,65.6)))
hierarchical_decoder.add(gdstk.Reference(contact_17, (50.4,68.4)))
hierarchical_decoder.add(gdstk.Reference(contact_17, (47.6,80)))
hierarchical_decoder.add(gdstk.Reference(contact_17, (50.4,77.2)))
hierarchical_decoder.add(gdstk.Reference(contact_17, (43.4,86.4)))
hierarchical_decoder.add(gdstk.Reference(contact_17, (51.8,89.2)))
hierarchical_decoder.add(gdstk.Reference(contact_17, (44.8,100.8)))
hierarchical_decoder.add(gdstk.Reference(contact_17, (51.8,98)))
hierarchical_decoder.add(gdstk.Reference(contact_17, (46.2,107.2)))
hierarchical_decoder.add(gdstk.Reference(contact_17, (51.8,110)))
hierarchical_decoder.add(gdstk.Reference(contact_17, (47.6,121.6)))
hierarchical_decoder.add(gdstk.Reference(contact_17, (51.8,118.8)))
hierarchical_decoder.add(gdstk.Reference(contact_17, (43.4,128)))
hierarchical_decoder.add(gdstk.Reference(contact_17, (53.2,130.8)))
hierarchical_decoder.add(gdstk.Reference(contact_17, (44.8,142.4)))
hierarchical_decoder.add(gdstk.Reference(contact_17, (53.2,139.6)))
hierarchical_decoder.add(gdstk.Reference(contact_17, (46.2,148.8)))
hierarchical_decoder.add(gdstk.Reference(contact_17, (53.2,151.6)))
hierarchical_decoder.add(gdstk.Reference(contact_17, (47.6,163.2)))
hierarchical_decoder.add(gdstk.Reference(contact_17, (53.2,160.4)))
hierarchical_decoder.add(gdstk.Reference(contact_6, (69.8,10.4)))
hierarchical_decoder.add(gdstk.Reference(contact_7, (69.8,10.4)))
hierarchical_decoder.add(gdstk.Reference(contact_6, (69.8,0)))
hierarchical_decoder.add(gdstk.Reference(contact_7, (69.8,0)))
hierarchical_decoder.add(gdstk.Reference(contact_6, (69.8,10.4)))
hierarchical_decoder.add(gdstk.Reference(contact_7, (69.8,10.4)))
hierarchical_decoder.add(gdstk.Reference(contact_6, (69.8,20.8)))
hierarchical_decoder.add(gdstk.Reference(contact_7, (69.8,20.8)))
hierarchical_decoder.add(gdstk.Reference(contact_6, (69.8,31.2)))
hierarchical_decoder.add(gdstk.Reference(contact_7, (69.8,31.2)))
hierarchical_decoder.add(gdstk.Reference(contact_6, (69.8,20.8)))
hierarchical_decoder.add(gdstk.Reference(contact_7, (69.8,20.8)))
hierarchical_decoder.add(gdstk.Reference(contact_6, (69.8,31.2)))
hierarchical_decoder.add(gdstk.Reference(contact_7, (69.8,31.2)))
hierarchical_decoder.add(gdstk.Reference(contact_6, (69.8,41.6)))
hierarchical_decoder.add(gdstk.Reference(contact_7, (69.8,41.6)))
hierarchical_decoder.add(gdstk.Reference(contact_6, (69.8,52)))
hierarchical_decoder.add(gdstk.Reference(contact_7, (69.8,52)))
hierarchical_decoder.add(gdstk.Reference(contact_6, (69.8,41.6)))
hierarchical_decoder.add(gdstk.Reference(contact_7, (69.8,41.6)))
hierarchical_decoder.add(gdstk.Reference(contact_6, (69.8,52)))
hierarchical_decoder.add(gdstk.Reference(contact_7, (69.8,52)))
hierarchical_decoder.add(gdstk.Reference(contact_6, (69.8,62.4)))
hierarchical_decoder.add(gdstk.Reference(contact_7, (69.8,62.4)))
hierarchical_decoder.add(gdstk.Reference(contact_6, (69.8,72.8)))
hierarchical_decoder.add(gdstk.Reference(contact_7, (69.8,72.8)))
hierarchical_decoder.add(gdstk.Reference(contact_6, (69.8,62.4)))
hierarchical_decoder.add(gdstk.Reference(contact_7, (69.8,62.4)))
hierarchical_decoder.add(gdstk.Reference(contact_6, (69.8,72.8)))
hierarchical_decoder.add(gdstk.Reference(contact_7, (69.8,72.8)))
hierarchical_decoder.add(gdstk.Reference(contact_6, (69.8,83.2)))
hierarchical_decoder.add(gdstk.Reference(contact_7, (69.8,83.2)))
hierarchical_decoder.add(gdstk.Reference(contact_6, (69.8,93.6)))
hierarchical_decoder.add(gdstk.Reference(contact_7, (69.8,93.6)))
hierarchical_decoder.add(gdstk.Reference(contact_6, (69.8,83.2)))
hierarchical_decoder.add(gdstk.Reference(contact_7, (69.8,83.2)))
hierarchical_decoder.add(gdstk.Reference(contact_6, (69.8,93.6)))
hierarchical_decoder.add(gdstk.Reference(contact_7, (69.8,93.6)))
hierarchical_decoder.add(gdstk.Reference(contact_6, (69.8,104)))
hierarchical_decoder.add(gdstk.Reference(contact_7, (69.8,104)))
hierarchical_decoder.add(gdstk.Reference(contact_6, (69.8,114.4)))
hierarchical_decoder.add(gdstk.Reference(contact_7, (69.8,114.4)))
hierarchical_decoder.add(gdstk.Reference(contact_6, (69.8,104)))
hierarchical_decoder.add(gdstk.Reference(contact_7, (69.8,104)))
hierarchical_decoder.add(gdstk.Reference(contact_6, (69.8,114.4)))
hierarchical_decoder.add(gdstk.Reference(contact_7, (69.8,114.4)))
hierarchical_decoder.add(gdstk.Reference(contact_6, (69.8,124.8)))
hierarchical_decoder.add(gdstk.Reference(contact_7, (69.8,124.8)))
hierarchical_decoder.add(gdstk.Reference(contact_6, (69.8,135.2)))
hierarchical_decoder.add(gdstk.Reference(contact_7, (69.8,135.2)))
hierarchical_decoder.add(gdstk.Reference(contact_6, (69.8,124.8)))
hierarchical_decoder.add(gdstk.Reference(contact_7, (69.8,124.8)))
hierarchical_decoder.add(gdstk.Reference(contact_6, (69.8,135.2)))
hierarchical_decoder.add(gdstk.Reference(contact_7, (69.8,135.2)))
hierarchical_decoder.add(gdstk.Reference(contact_6, (69.8,145.6)))
hierarchical_decoder.add(gdstk.Reference(contact_7, (69.8,145.6)))
hierarchical_decoder.add(gdstk.Reference(contact_6, (69.8,156)))
hierarchical_decoder.add(gdstk.Reference(contact_7, (69.8,156)))
hierarchical_decoder.add(gdstk.Reference(contact_6, (69.8,145.6)))
hierarchical_decoder.add(gdstk.Reference(contact_7, (69.8,145.6)))
hierarchical_decoder.add(gdstk.Reference(contact_6, (69.8,156)))
hierarchical_decoder.add(gdstk.Reference(contact_7, (69.8,156)))
hierarchical_decoder.add(gdstk.Reference(contact_6, (69.8,166.4)))
hierarchical_decoder.add(gdstk.Reference(contact_7, (69.8,166.4)))
hierarchical_decoder.add(gdstk.Label('addr_0', (0.4,52.4), layer=51, texttype=0))
hierarchical_decoder.add(gdstk.Label('addr_1', (1.8,52.4), layer=51, texttype=0))
hierarchical_decoder.add(gdstk.Label('addr_2', (3.2,52.4), layer=51, texttype=0))
hierarchical_decoder.add(gdstk.Label('addr_3', (4.6,52.4), layer=51, texttype=0))
hierarchical_decoder.add(gdstk.Label('decode_0', (67.2,5.4), layer=49, texttype=0))
hierarchical_decoder.add(gdstk.Label('decode_1', (67.2,16.2), layer=49, texttype=0))
hierarchical_decoder.add(gdstk.Label('decode_2', (67.2,26.2), layer=49, texttype=0))
hierarchical_decoder.add(gdstk.Label('decode_3', (67.2,37), layer=49, texttype=0))
hierarchical_decoder.add(gdstk.Label('decode_4', (67.2,47), layer=49, texttype=0))
hierarchical_decoder.add(gdstk.Label('decode_5', (67.2,57.8), layer=49, texttype=0))
hierarchical_decoder.add(gdstk.Label('decode_6', (67.2,67.8), layer=49, texttype=0))
hierarchical_decoder.add(gdstk.Label('decode_7', (67.2,78.6), layer=49, texttype=0))
hierarchical_decoder.add(gdstk.Label('decode_8', (67.2,88.6), layer=49, texttype=0))
hierarchical_decoder.add(gdstk.Label('decode_9', (67.2,99.4), layer=49, texttype=0))
hierarchical_decoder.add(gdstk.Label('decode_10', (67.2,109.4), layer=49, texttype=0))
hierarchical_decoder.add(gdstk.Label('decode_11', (67.2,120.2), layer=49, texttype=0))
hierarchical_decoder.add(gdstk.Label('decode_12', (67.2,130.2), layer=49, texttype=0))
hierarchical_decoder.add(gdstk.Label('decode_13', (67.2,141), layer=49, texttype=0))
hierarchical_decoder.add(gdstk.Label('decode_14', (67.2,151), layer=49, texttype=0))
hierarchical_decoder.add(gdstk.Label('decode_15', (67.2,161.8), layer=49, texttype=0))
hierarchical_decoder.add(gdstk.Label('predecode_0', (43.8,83.9), layer=51, texttype=0))
hierarchical_decoder.add(gdstk.Label('predecode_1', (45.2,83.9), layer=51, texttype=0))
hierarchical_decoder.add(gdstk.Label('predecode_2', (46.6,83.9), layer=51, texttype=0))
hierarchical_decoder.add(gdstk.Label('predecode_3', (48,83.9), layer=51, texttype=0))
hierarchical_decoder.add(gdstk.Label('predecode_4', (49.4,83.9), layer=51, texttype=0))
hierarchical_decoder.add(gdstk.Label('predecode_5', (50.8,83.9), layer=51, texttype=0))
hierarchical_decoder.add(gdstk.Label('predecode_6', (52.2,83.9), layer=51, texttype=0))
hierarchical_decoder.add(gdstk.Label('predecode_7', (53.6,83.9), layer=51, texttype=0))
hierarchical_decoder.add(gdstk.Label('vdd', (11.3,10.8), layer=62, texttype=0))
hierarchical_decoder.add(gdstk.Label('vdd', (11.3,94), layer=62, texttype=0))
hierarchical_decoder.add(gdstk.Label('vdd', (70.2,94), layer=62, texttype=0))
hierarchical_decoder.add(gdstk.Label('vdd', (70.2,73.2), layer=62, texttype=0))
hierarchical_decoder.add(gdstk.Label('vdd', (70.2,31.6), layer=62, texttype=0))
hierarchical_decoder.add(gdstk.Label('vdd', (70.2,31.6), layer=62, texttype=0))
hierarchical_decoder.add(gdstk.Label('vdd', (70.2,73.2), layer=62, texttype=0))
hierarchical_decoder.add(gdstk.Label('vdd', (70.2,10.8), layer=62, texttype=0))
hierarchical_decoder.add(gdstk.Label('vdd', (26.3,73.2), layer=62, texttype=0))
hierarchical_decoder.add(gdstk.Label('vdd', (11.3,31.6), layer=62, texttype=0))
hierarchical_decoder.add(gdstk.Label('vdd', (26.3,94), layer=62, texttype=0))
hierarchical_decoder.add(gdstk.Label('vdd', (26.3,31.6), layer=62, texttype=0))
hierarchical_decoder.add(gdstk.Label('vdd', (11.3,73.2), layer=62, texttype=0))
hierarchical_decoder.add(gdstk.Label('vdd', (70.2,10.8), layer=62, texttype=0))
hierarchical_decoder.add(gdstk.Label('vdd', (70.2,52.4), layer=62, texttype=0))
hierarchical_decoder.add(gdstk.Label('vdd', (70.2,114.8), layer=62, texttype=0))
hierarchical_decoder.add(gdstk.Label('vdd', (70.2,135.6), layer=62, texttype=0))
hierarchical_decoder.add(gdstk.Label('vdd', (70.2,156.4), layer=62, texttype=0))
hierarchical_decoder.add(gdstk.Label('vdd', (70.2,94), layer=62, texttype=0))
hierarchical_decoder.add(gdstk.Label('vdd', (26.3,10.8), layer=62, texttype=0))
hierarchical_decoder.add(gdstk.Label('gnd', (11.3,0.4), layer=62, texttype=0))
hierarchical_decoder.add(gdstk.Label('gnd', (26.3,83.6), layer=62, texttype=0))
hierarchical_decoder.add(gdstk.Label('gnd', (11.3,62.8), layer=62, texttype=0))
hierarchical_decoder.add(gdstk.Label('gnd', (70.2,166.8), layer=62, texttype=0))
hierarchical_decoder.add(gdstk.Label('gnd', (11.3,21.2), layer=62, texttype=0))
hierarchical_decoder.add(gdstk.Label('gnd', (26.3,104.4), layer=62, texttype=0))
hierarchical_decoder.add(gdstk.Label('gnd', (11.3,42), layer=62, texttype=0))
hierarchical_decoder.add(gdstk.Label('gnd', (26.3,21.2), layer=62, texttype=0))
hierarchical_decoder.add(gdstk.Label('gnd', (26.3,42), layer=62, texttype=0))
hierarchical_decoder.add(gdstk.Label('gnd', (70.2,62.8), layer=62, texttype=0))
hierarchical_decoder.add(gdstk.Label('gnd', (70.2,104.4), layer=62, texttype=0))
hierarchical_decoder.add(gdstk.Label('gnd', (26.3,0.4), layer=62, texttype=0))
hierarchical_decoder.add(gdstk.Label('gnd', (11.3,104.4), layer=62, texttype=0))
hierarchical_decoder.add(gdstk.Label('gnd', (70.2,42), layer=62, texttype=0))
hierarchical_decoder.add(gdstk.Label('gnd', (70.2,21.2), layer=62, texttype=0))
hierarchical_decoder.add(gdstk.Label('gnd', (26.3,62.8), layer=62, texttype=0))
hierarchical_decoder.add(gdstk.Label('gnd', (70.2,83.6), layer=62, texttype=0))
hierarchical_decoder.add(gdstk.Label('gnd', (70.2,146), layer=62, texttype=0))
hierarchical_decoder.add(gdstk.Label('gnd', (70.2,125.2), layer=62, texttype=0))
hierarchical_decoder.add(gdstk.Label('gnd', (70.2,0.4), layer=62, texttype=0))
hierarchical_decoder.add(gdstk.Label('gnd', (11.3,83.6), layer=62, texttype=0))

lib.write_gds('hierarchical_decoder.gds')
